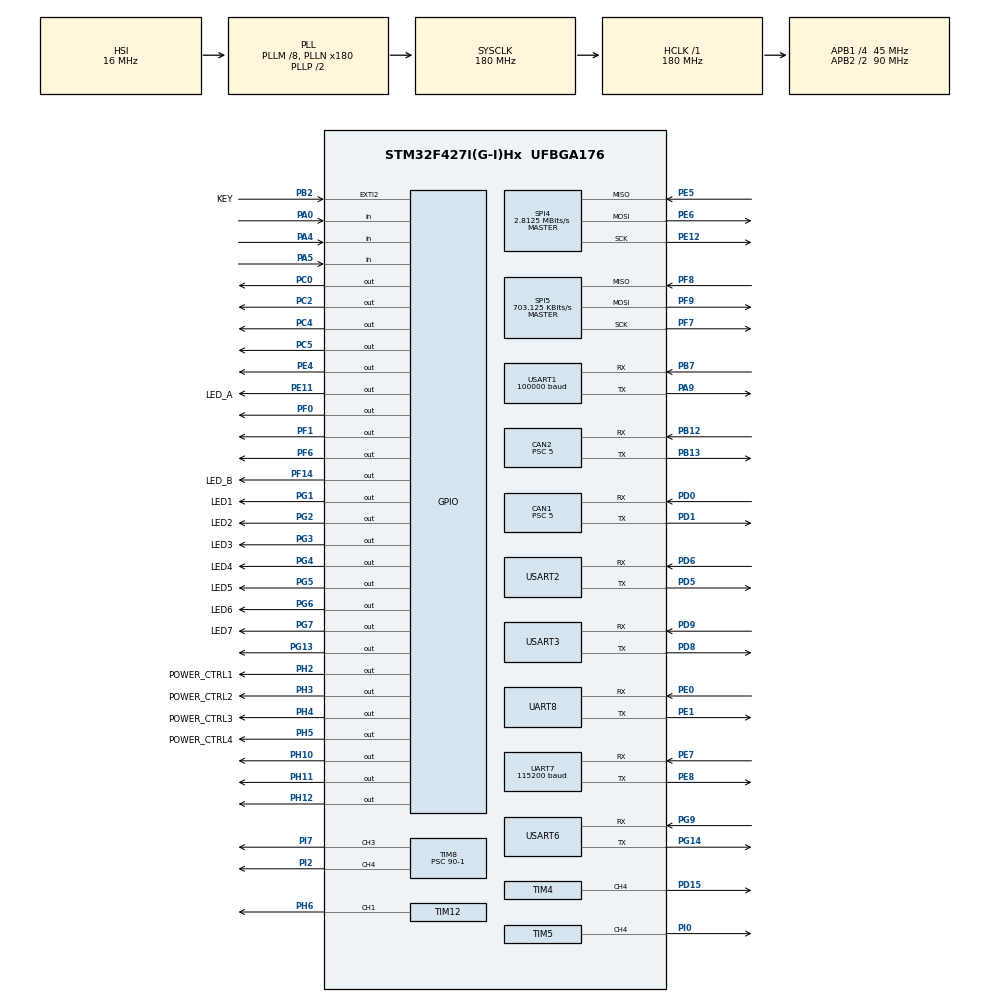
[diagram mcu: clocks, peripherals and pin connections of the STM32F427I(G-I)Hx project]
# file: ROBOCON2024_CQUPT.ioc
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CAN1.ABOM=ENABLE
CAN1.BS1=CAN_BS1_3TQ
CAN1.BS2=CAN_BS2_5TQ
CAN1.CalculateBaudRate=1000000
CAN1.CalculateTimeBit=1000
CAN1.CalculateTimeQuantum=111.11111111111111
CAN1.Prescaler=5
CAN2.ABOM=ENABLE
CAN2.BS1=CAN_BS1_3TQ
CAN2.BS2=CAN_BS2_5TQ
CAN2.CalculateBaudRate=1000000
CAN2.CalculateTimeBit=1000
CAN2.CalculateTimeQuantum=111.11111111111111
CAN2.Prescaler=5
Dma.Request0=USART2_RX
Dma.Request1=USART1_RX
Dma.Request2=USART3_RX
Dma.Request3=UART7_RX
Dma.UART7_RX.3.Direction=DMA_PERIPH_TO_MEMORY
Dma.UART7_RX.3.FIFOMode=DMA_FIFOMODE_DISABLE
Dma.UART7_RX.3.Instance=DMA1_Stream3
Dma.UART7_RX.3.MemDataAlignment=DMA_MDATAALIGN_BYTE
Dma.UART7_RX.3.MemInc=DMA_MINC_ENABLE
Dma.UART7_RX.3.Mode=DMA_NORMAL
Dma.UART7_RX.3.PeriphDataAlignment=DMA_PDATAALIGN_BYTE
Dma.UART7_RX.3.PeriphInc=DMA_PINC_DISABLE
Dma.UART7_RX.3.Priority=DMA_PRIORITY_LOW
Dma.USART1_RX.1.Direction=DMA_PERIPH_TO_MEMORY
Dma.USART1_RX.1.FIFOMode=DMA_FIFOMODE_DISABLE
Dma.USART1_RX.1.Instance=DMA2_Stream2
Dma.USART1_RX.1.MemDataAlignment=DMA_MDATAALIGN_BYTE
Dma.USART1_RX.1.MemInc=DMA_MINC_ENABLE
Dma.USART1_RX.1.Mode=DMA_CIRCULAR
Dma.USART1_RX.1.PeriphDataAlignment=DMA_PDATAALIGN_BYTE
Dma.USART1_RX.1.PeriphInc=DMA_PINC_DISABLE
Dma.USART1_RX.1.Priority=DMA_PRIORITY_MEDIUM
Dma.USART2_RX.0.Direction=DMA_PERIPH_TO_MEMORY
Dma.USART2_RX.0.FIFOMode=DMA_FIFOMODE_DISABLE
Dma.USART2_RX.0.Instance=DMA1_Stream5
Dma.USART2_RX.0.MemDataAlignment=DMA_MDATAALIGN_BYTE
Dma.USART2_RX.0.MemInc=DMA_MINC_ENABLE
Dma.USART2_RX.0.Mode=DMA_CIRCULAR
Dma.USART2_RX.0.PeriphDataAlignment=DMA_PDATAALIGN_BYTE
Dma.USART2_RX.0.PeriphInc=DMA_PINC_DISABLE
Dma.USART2_RX.0.Priority=DMA_PRIORITY_MEDIUM
Dma.USART3_RX.2.Direction=DMA_PERIPH_TO_MEMORY
Dma.USART3_RX.2.FIFOMode=DMA_FIFOMODE_DISABLE
Dma.USART3_RX.2.Instance=DMA1_Stream1
Dma.USART3_RX.2.MemDataAlignment=DMA_MDATAALIGN_BYTE
Dma.USART3_RX.2.MemInc=DMA_MINC_ENABLE
Dma.USART3_RX.2.Mode=DMA_NORMAL
Dma.USART3_RX.2.PeriphDataAlignment=DMA_PDATAALIGN_BYTE
Dma.USART3_RX.2.PeriphInc=DMA_PINC_DISABLE
Dma.USART3_RX.2.Priority=DMA_PRIORITY_LOW
FREERTOS.Tasks01=testTask,16,128,test_task,As weak,NULL,Dynamic,NULL,NULL;chassisTask,24,128,chassis_task,As weak,NULL,Dynamic,NULL,NULL;ledTask,8,128,led_task,As weak,NULL,Dynamic,NULL,NULL;solenoidTask,24,128,solenoid_task,As weak,NULL,Dynamic,NULL,NULL;YuntaiTask,24,128,yuntaiTask,As weak,NULL,Dynamic,NULL,NULL;motorTask,8,128,motor_task,As weak,NULL,Dynamic,NULL,NULL
FREERTOS.configENABLE_FPU=1
Mcu.Family=STM32F4
Mcu.Name=STM32F427I(G-I)Hx
Mcu.Package=UFBGA176
NVIC.CAN1_RX0_IRQn=true\:5\:0\:false\:false\:true\:true\:true\:true\:true
NVIC.CAN1_TX_IRQn=true\:5\:0\:false\:false\:true\:true\:true\:true\:true
NVIC.CAN2_RX0_IRQn=true\:5\:0\:false\:false\:true\:true\:true\:true\:true
NVIC.CAN2_TX_IRQn=true\:5\:0\:false\:false\:true\:true\:true\:true\:true
NVIC.DMA1_Stream1_IRQn=true\:5\:0\:false\:false\:true\:true\:false\:true\:true
NVIC.DMA1_Stream3_IRQn=true\:5\:0\:false\:false\:true\:true\:false\:true\:true
NVIC.DMA1_Stream5_IRQn=true\:5\:0\:false\:false\:true\:true\:false\:true\:true
NVIC.DMA2_Stream2_IRQn=true\:5\:0\:false\:false\:true\:true\:false\:true\:true
NVIC.EXTI2_IRQn=true\:5\:0\:false\:false\:true\:true\:true\:true\:true
NVIC.PriorityGroup=NVIC_PRIORITYGROUP_4
NVIC.TIM1_UP_TIM10_IRQn=true\:5\:0\:false\:false\:true\:true\:true\:true\:true
NVIC.TIM2_IRQn=true\:5\:0\:false\:false\:true\:true\:true\:true\:true
NVIC.TIM8_TRG_COM_TIM14_IRQn=true\:5\:0\:false\:false\:true\:false\:false\:true\:true
NVIC.TimeBase=TIM8_TRG_COM_TIM14_IRQn
NVIC.TimeBaseIP=TIM14
NVIC.UART7_IRQn=true\:5\:0\:false\:false\:true\:true\:true\:true\:true
NVIC.UART8_IRQn=true\:5\:0\:false\:false\:true\:true\:true\:true\:true
NVIC.USART1_IRQn=true\:7\:0\:true\:false\:true\:true\:true\:true\:true
NVIC.USART2_IRQn=true\:7\:0\:true\:false\:true\:true\:true\:true\:true
NVIC.USART3_IRQn=true\:5\:0\:false\:false\:true\:true\:true\:true\:true
NVIC.USART6_IRQn=true\:6\:0\:true\:false\:true\:true\:true\:true\:true
PA0/WKUP.Signal=GPIO_Input
PA13.Mode=Serial_Wire
PA13.Signal=SYS_JTMS-SWDIO
PA14.Mode=Serial_Wire
PA14.Signal=SYS_JTCK-SWCLK
PA4.GPIO_PuPd=GPIO_PULLDOWN
PA4.Signal=GPIO_Input
PA5.GPIO_PuPd=GPIO_PULLDOWN
PA5.Signal=GPIO_Input
PA9.Mode=Asynchronous
PA9.Signal=USART1_TX
PB12.Mode=CAN_Activate
PB12.Signal=CAN2_RX
PB13.Mode=CAN_Activate
PB13.Signal=CAN2_TX
PB2/BOOT1.GPIO_Label=KEY
PB2/BOOT1.GPIO_ModeDefaultEXTI=GPIO_MODE_IT_RISING
PB2/BOOT1.GPIO_PuPd=GPIO_PULLDOWN
PB2/BOOT1.Signal=GPXTI2
PB7.Mode=Asynchronous
PB7.Signal=USART1_RX
PC0.Signal=GPIO_Output
PC2.GPIO_PuPd=GPIO_PULLDOWN
PC2.Signal=GPIO_Output
PC4.Signal=GPIO_Output
PC5.Signal=GPIO_Output
PD0.Mode=CAN_Activate
PD0.Signal=CAN1_RX
PD1.Mode=CAN_Activate
PD1.Signal=CAN1_TX
PD15.Signal=S_TIM4_CH4
PD5.Mode=Asynchronous
PD5.Signal=USART2_TX
PD6.Mode=Asynchronous
PD6.Signal=USART2_RX
PD8.Mode=Asynchronous
PD8.Signal=USART3_TX
PD9.Mode=Asynchronous
PD9.Signal=USART3_RX
PE0.Mode=Asynchronous
PE0.Signal=UART8_RX
PE1.Mode=Asynchronous
PE1.Signal=UART8_TX
PE11.GPIO_Label=LED_A
PE11.GPIO_PuPd=GPIO_PULLDOWN
PE11.Signal=GPIO_Output
PE12.Mode=Full_Duplex_Master
PE12.Signal=SPI4_SCK
PE4.GPIO_PuPd=GPIO_PULLDOWN
PE4.Signal=GPIO_Output
PE5.Mode=Full_Duplex_Master
PE5.Signal=SPI4_MISO
PE6.Mode=Full_Duplex_Master
PE6.Signal=SPI4_MOSI
PE7.Mode=Asynchronous
PE7.Signal=UART7_RX
PE8.Mode=Asynchronous
PE8.Signal=UART7_TX
PF0.GPIO_PuPd=GPIO_PULLDOWN
PF0.Signal=GPIO_Output
PF1.GPIO_PuPd=GPIO_PULLDOWN
PF1.PinState=GPIO_PIN_RESET
PF1.Signal=GPIO_Output
PF14.GPIO_Label=LED_B
PF14.GPIO_PuPd=GPIO_PULLDOWN
PF14.Signal=GPIO_Output
PF6.Signal=GPIO_Output
PF7.Mode=Full_Duplex_Master
PF7.Signal=SPI5_SCK
PF8.Mode=Full_Duplex_Master
PF8.Signal=SPI5_MISO
PF9.Mode=Full_Duplex_Master
PF9.Signal=SPI5_MOSI
PG1.GPIO_Label=LED1
PG1.GPIO_PuPd=GPIO_PULLDOWN
PG1.Signal=GPIO_Output
PG13.GPIO_ModeDefaultOutputPP=GPIO_MODE_OUTPUT_PP
PG13.GPIO_PuPd=GPIO_PULLUP
PG13.PinState=GPIO_PIN_RESET
PG13.Signal=GPIO_Output
PG14.Mode=Asynchronous
PG14.Signal=USART6_TX
PG2.GPIO_Label=LED2
PG2.GPIO_PuPd=GPIO_PULLDOWN
PG2.Signal=GPIO_Output
PG3.GPIO_Label=LED3
PG3.GPIO_PuPd=GPIO_PULLDOWN
PG3.Signal=GPIO_Output
PG4.GPIO_Label=LED4
PG4.GPIO_PuPd=GPIO_PULLDOWN
PG4.Signal=GPIO_Output
PG5.GPIO_Label=LED5
PG5.GPIO_PuPd=GPIO_PULLDOWN
PG5.Signal=GPIO_Output
PG6.GPIO_Label=LED6
PG6.GPIO_PuPd=GPIO_PULLDOWN
PG6.Signal=GPIO_Output
PG7.GPIO_Label=LED7
PG7.GPIO_PuPd=GPIO_PULLDOWN
PG7.Signal=GPIO_Output
PG9.Mode=Asynchronous
PG9.Signal=USART6_RX
PH0/OSC_IN.Mode=HSE-External-Oscillator
PH0/OSC_IN.Signal=RCC_OSC_IN
PH1/OSC_OUT.Mode=HSE-External-Oscillator
PH1/OSC_OUT.Signal=RCC_OSC_OUT
PH10.PinState=GPIO_PIN_SET
PH10.Signal=GPIO_Output
PH11.PinState=GPIO_PIN_SET
PH11.Signal=GPIO_Output
PH12.PinState=GPIO_PIN_SET
PH12.Signal=GPIO_Output
PH2.GPIO_Label=POWER_CTRL1
PH2.Signal=GPIO_Output
PH3.GPIO_Label=POWER_CTRL2
PH3.Signal=GPIO_Output
PH4.GPIO_Label=POWER_CTRL3
PH4.Signal=GPIO_Output
PH5.GPIO_Label=POWER_CTRL4
PH5.Signal=GPIO_Output
PH6.Signal=S_TIM12_CH1
PI0.Signal=S_TIM5_CH4
PI2.Signal=S_TIM8_CH4
PI7.Signal=S_TIM8_CH3
ProjectManager.HeapSize=0x800
ProjectManager.StackSize=0x1200
ProjectManager.TargetToolchain=MDK-ARM V5.32
RCC.48MHZClocksFreq_Value=90000000
RCC.AHBFreq_Value=180000000
RCC.APB1CLKDivider=RCC_HCLK_DIV4
RCC.APB1Freq_Value=45000000
RCC.APB1TimFreq_Value=90000000
RCC.APB2CLKDivider=RCC_HCLK_DIV2
RCC.APB2Freq_Value=90000000
RCC.APB2TimFreq_Value=180000000
RCC.CortexFreq_Value=180000000
RCC.HCLKFreq_Value=180000000
RCC.HSE_VALUE=25000000
RCC.HSI_VALUE=16000000
RCC.LSE_VALUE=32768
RCC.PLLM=8
RCC.PLLN=180
RCC.SYSCLKFreq_VALUE=180000000
RCC.SYSCLKSource=RCC_SYSCLKSOURCE_PLLCLK
RCC.VCOOutputFreq_Value=360000000
SH.S_TIM12_CH1.0=TIM12_CH1,PWM Generation1 CH1
SH.S_TIM4_CH4.0=TIM4_CH4,PWM Generation4 CH4
SH.S_TIM5_CH4.0=TIM5_CH4,PWM Generation4 CH4
SH.S_TIM8_CH3.0=TIM8_CH3,PWM Generation3 CH3
SH.S_TIM8_CH4.0=TIM8_CH4,PWM Generation4 CH4
SPI4.BaudRatePrescaler=SPI_BAUDRATEPRESCALER_32
SPI4.CLKPhase=SPI_PHASE_2EDGE
SPI4.CalculateBaudRate=2.8125 MBits/s
SPI4.DataSize=SPI_DATASIZE_16BIT
SPI4.Direction=SPI_DIRECTION_2LINES
SPI4.Mode=SPI_MODE_MASTER
SPI4.VirtualType=VM_MASTER
SPI5.BaudRatePrescaler=SPI_BAUDRATEPRESCALER_128
SPI5.CalculateBaudRate=703.125 KBits/s
SPI5.Direction=SPI_DIRECTION_2LINES
SPI5.Mode=SPI_MODE_MASTER
SPI5.VirtualType=VM_MASTER
TIM1.Period=10000-1
TIM1.Prescaler=180-1
TIM12.Channel-PWM\ Generation1\ CH1=TIM_CHANNEL_1
TIM12.Period=0
TIM12.Prescaler=3999
TIM2.Period=1000000-1
TIM2.Prescaler=180-1
TIM4.AutoReloadPreload=TIM_AUTORELOAD_PRELOAD_ENABLE
TIM4.Channel-PWM\ Generation4\ CH4=TIM_CHANNEL_4
TIM4.Period=10000-1
TIM4.Prescaler=90-1
TIM5.Channel-PWM\ Generation4\ CH4=TIM_CHANNEL_4
TIM5.Period=10000
TIM5.Prescaler=169
TIM8.AutoReloadPreload=TIM_AUTORELOAD_PRELOAD_ENABLE
TIM8.Channel-PWM\ Generation3\ CH3=TIM_CHANNEL_3
TIM8.Channel-PWM\ Generation4\ CH4=TIM_CHANNEL_4
TIM8.Period=40000-1
TIM8.Prescaler=90-1
UART7.BaudRate=115200
UART7.VirtualMode=Asynchronous
UART8.VirtualMode=Asynchronous
USART1.BaudRate=100000
USART1.VirtualMode=VM_ASYNC
USART2.VirtualMode=VM_ASYNC
USART3.VirtualMode=VM_ASYNC
USART6.VirtualMode=VM_ASYNC
VP_FREERTOS_VS_CMSIS_V2.Mode=CMSIS_V2
VP_SYS_VS_tim14.Mode=TIM14
VP_TIM1_VS_ClockSourceINT.Mode=Internal
VP_TIM2_VS_ClockSourceINT.Mode=Internal
VP_TIM4_VS_ClockSourceINT.Mode=Internal
VP_TIM8_VS_ClockSourceINT.Mode=Internal
board=custom

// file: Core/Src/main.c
/* USER CODE BEGIN Header */
/**
  ******************************************************************************
  * @file           : main.c
  * @brief          : Main program body
  ******************************************************************************
  * @attention
  *
  * Copyright (c) 2023 STMicroelectronics.
  * All rights reserved.
  *
  * This software is licensed under terms that can be found in the LICENSE file
  * in the root directory of this software component.
  * If no LICENSE file comes with this software, it is provided AS-IS.
  *
  ******************************************************************************
  */
/* USER CODE END Header */
#include "main.h"
#include "cmsis_os.h"
#include "can.h"
#include "dma.h"
#include "spi.h"
#include "tim.h"
#include "usart.h"
#include "gpio.h"

/* USER CODE BEGIN Includes */
#include "dj_motor_driver.h"
#include "a_led_buzzer_key.h"
#include "bsp_imu.h"
#include "elog.h"
//串口1 sbus遥控
//串口2 ops定位
//串口6 elog lettershell
//定时器14 freertos 定时 全局时间
//定时器1 10ms中断 imu更新
//定时器2 1s中断 没使能
/* USER CODE END Includes */

void SystemClock_Config(void);
void MX_FREERTOS_Init(void);

/* USER CODE BEGIN 0 */
extern uint8_t aRxBuffer_T[1];
/* USER CODE END 0 */

int main(void)
{

  /* MCU Configuration--------------------------------------------------------*/

  /* Reset of all peripherals, Initializes the Flash interface and the Systick. */
  HAL_Init();

  /* Configure the system clock */
  SystemClock_Config();

  /* Initialize all configured peripherals */
  MX_GPIO_Init();
  MX_DMA_Init();
  MX_CAN1_Init();
  MX_CAN2_Init();
  MX_SPI4_Init();
  MX_USART1_UART_Init();
  MX_USART2_UART_Init();
  MX_USART3_UART_Init();
  MX_USART6_UART_Init();
  MX_UART7_Init();
  MX_UART8_Init();
  MX_TIM4_Init();
  MX_TIM8_Init();
  MX_TIM2_Init();
  MX_TIM5_Init();
  MX_TIM12_Init();
  MX_SPI5_Init();
  MX_TIM1_Init();
  /* USER CODE BEGIN 2 */
 userShellInit();
 dj_motor_init();
 HAL_TIM_PWM_Start(&htim5,TIM_CHANNEL_4);
  HAL_TIM_Base_Start_IT(&htim1);
	__HAL_UART_CLEAR_IDLEFLAG(&huart3);
    __HAL_UART_ENABLE_IT(&huart3, UART_IT_IDLE);

		__HAL_UART_CLEAR_IDLEFLAG(&huart7);
    __HAL_UART_ENABLE_IT(&huart7, UART_IT_IDLE);
		HAL_UART_Receive_IT(&huart8, (uint8_t *)aRxBuffer_T, 1);
  /* USER CODE END 2 */

  /* Init scheduler */
  osKernelInitialize();  /* Call init function for freertos objects (in freertos.c) */
  MX_FREERTOS_Init();

  /* Start scheduler */
  osKernelStart();
  /* We should never get here as control is now taken by the scheduler */
  /* Infinite loop */
  while (1)
  {

  }
}

void SystemClock_Config(void)
{
  RCC_OscInitTypeDef RCC_OscInitStruct = {0};
  RCC_ClkInitTypeDef RCC_ClkInitStruct = {0};

  /** Configure the main internal regulator output voltage
  */
  __HAL_RCC_PWR_CLK_ENABLE();
  __HAL_PWR_VOLTAGESCALING_CONFIG(PWR_REGULATOR_VOLTAGE_SCALE1);

  /** Initializes the RCC Oscillators according to the specified parameters
  * in the RCC_OscInitTypeDef structure.
  */
  RCC_OscInitStruct.OscillatorType = RCC_OSCILLATORTYPE_HSI;
  RCC_OscInitStruct.HSIState = RCC_HSI_ON;
  RCC_OscInitStruct.HSICalibrationValue = RCC_HSICALIBRATION_DEFAULT;
  RCC_OscInitStruct.PLL.PLLState = RCC_PLL_ON;
  RCC_OscInitStruct.PLL.PLLSource = RCC_PLLSOURCE_HSI;
  RCC_OscInitStruct.PLL.PLLM = 8;
  RCC_OscInitStruct.PLL.PLLN = 180;
  RCC_OscInitStruct.PLL.PLLP = RCC_PLLP_DIV2;
  RCC_OscInitStruct.PLL.PLLQ = 4;
  if (HAL_RCC_OscConfig(&RCC_OscInitStruct) != HAL_OK)
  {
    Error_Handler();
  }

  /** Activate the Over-Drive mode
  */
  if (HAL_PWREx_EnableOverDrive() != HAL_OK)
  {
    Error_Handler();
  }

  /** Initializes the CPU, AHB and APB buses clocks
  */
  RCC_ClkInitStruct.ClockType = RCC_CLOCKTYPE_HCLK|RCC_CLOCKTYPE_SYSCLK
                              |RCC_CLOCKTYPE_PCLK1|RCC_CLOCKTYPE_PCLK2;
  RCC_ClkInitStruct.SYSCLKSource = RCC_SYSCLKSOURCE_PLLCLK;
  RCC_ClkInitStruct.AHBCLKDivider = RCC_SYSCLK_DIV1;
  RCC_ClkInitStruct.APB1CLKDivider = RCC_HCLK_DIV4;
  RCC_ClkInitStruct.APB2CLKDivider = RCC_HCLK_DIV2;

  if (HAL_RCC_ClockConfig(&RCC_ClkInitStruct, FLASH_LATENCY_5) != HAL_OK)
  {
    Error_Handler();
  }
}

void HAL_TIM_PeriodElapsedCallback(TIM_HandleTypeDef *htim)
{
  if (htim->Instance == TIM14) {
    HAL_IncTick();
  }
  /* USER CODE BEGIN Callback 1 */
  if (htim->Instance == TIM14) {
    global_time_handle();
  }
	if (htim->Instance == TIM1) {
    bsp_imu_handle();
  }
  /* USER CODE END Callback 1 */
}

void Error_Handler(void)
{
  __disable_irq();
  while (1)
  {
  }
}

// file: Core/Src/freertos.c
/* USER CODE BEGIN Header */
/**
  ******************************************************************************
  * File Name          : freertos.c
  * Description        : Code for freertos applications
  ******************************************************************************
  * @attention
  *
  * Copyright (c) 2023 STMicroelectronics.
  * All rights reserved.
  *
  * This software is licensed under terms that can be found in the LICENSE file
  * in the root directory of this software component.
  * If no LICENSE file comes with this software, it is provided AS-IS.
  *
  ******************************************************************************
  */
/* USER CODE END Header */

#include "FreeRTOS.h"
#include "task.h"
#include "main.h"
#include "cmsis_os.h"

/* USER CODE BEGIN Includes */
#include "semphr.h"
/* USER CODE END Includes */

/* USER CODE BEGIN Variables */
SemaphoreHandle_t xMutex_Usart1;

/* USER CODE END Variables */
/* Definitions for testTask */
osThreadId_t testTaskHandle;
const osThreadAttr_t testTask_attributes = {
  .name = "testTask",
  .stack_size = 128 * 4,
  .priority = (osPriority_t) osPriorityBelowNormal,
};
/* Definitions for chassisTask */
osThreadId_t chassisTaskHandle;
const osThreadAttr_t chassisTask_attributes = {
  .name = "chassisTask",
  .stack_size = 128 * 4,
  .priority = (osPriority_t) osPriorityNormal,
};
/* Definitions for ledTask */
osThreadId_t ledTaskHandle;
const osThreadAttr_t ledTask_attributes = {
  .name = "ledTask",
  .stack_size = 128 * 4,
  .priority = (osPriority_t) osPriorityLow,
};
/* Definitions for solenoidTask */
osThreadId_t solenoidTaskHandle;
const osThreadAttr_t solenoidTask_attributes = {
  .name = "solenoidTask",
  .stack_size = 128 * 4,
  .priority = (osPriority_t) osPriorityNormal,
};
/* Definitions for YuntaiTask */
osThreadId_t YuntaiTaskHandle;
const osThreadAttr_t YuntaiTask_attributes = {
  .name = "YuntaiTask",
  .stack_size = 128 * 4,
  .priority = (osPriority_t) osPriorityNormal,
};
/* Definitions for motorTask */
osThreadId_t motorTaskHandle;
const osThreadAttr_t motorTask_attributes = {
  .name = "motorTask",
  .stack_size = 128 * 4,
  .priority = (osPriority_t) osPriorityLow,
};

void test_task(void *argument);
void chassis_task(void *argument);
void led_task(void *argument);
void solenoid_task(void *argument);
void yuntaiTask(void *argument);
void motor_task(void *argument);

void MX_FREERTOS_Init(void); /* (MISRA C 2004 rule 8.1) */

void MX_FREERTOS_Init(void) {

  /* USER CODE BEGIN RTOS_MUTEX */
	    xMutex_Usart1 = xSemaphoreCreateRecursiveMutex();

  /* USER CODE END RTOS_MUTEX */

  /* Create the thread(s) */
  /* creation of testTask */
  testTaskHandle = osThreadNew(test_task, NULL, &testTask_attributes);

  /* creation of chassisTask */
  chassisTaskHandle = osThreadNew(chassis_task, NULL, &chassisTask_attributes);

  /* creation of ledTask */
  ledTaskHandle = osThreadNew(led_task, NULL, &ledTask_attributes);

  /* creation of solenoidTask */
  solenoidTaskHandle = osThreadNew(solenoid_task, NULL, &solenoidTask_attributes);

  /* creation of YuntaiTask */
  YuntaiTaskHandle = osThreadNew(yuntaiTask, NULL, &YuntaiTask_attributes);

  /* creation of motorTask */
  motorTaskHandle = osThreadNew(motor_task, NULL, &motorTask_attributes);

}

__weak void test_task(void *argument)
{
  for(;;)
  {
    osDelay(1);
  }
}

__weak void chassis_task(void *argument)
{
  for(;;)
  {
    osDelay(1);
  }
}

__weak void led_task(void *argument)
{
  for(;;)
  {
    osDelay(1);
  }
}

__weak void solenoid_task(void *argument)
{
  for(;;)
  {
    osDelay(1);
  }
}

__weak void yuntaiTask(void *argument)
{
  for(;;)
  {
    osDelay(1);
  }
}

__weak void motor_task(void *argument)
{
  for(;;)
  {
    osDelay(1);
  }
}
